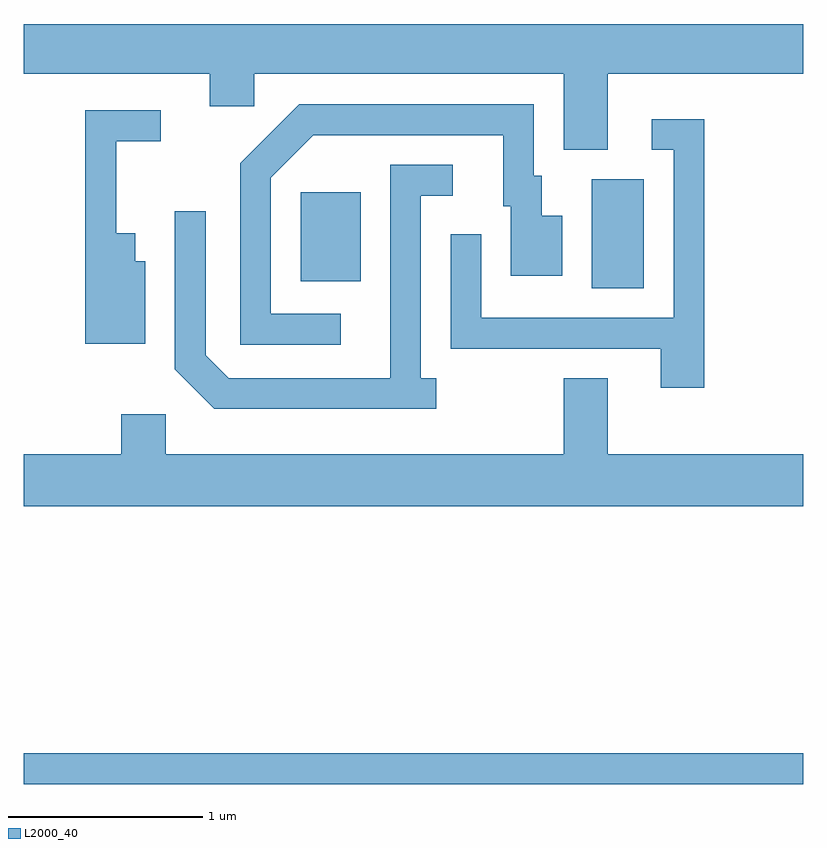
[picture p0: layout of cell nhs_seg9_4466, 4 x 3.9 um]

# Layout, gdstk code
import gdstk
lib = gdstk.Library(unit=1e-6, precision=1e-09)
def R(c, l, rs):  # rectangles x0, y0, x1, y1
    for r in rs: c.add(gdstk.rectangle(r[:2], r[2:], *l))
def P(c, l, *ps):  # polygons
    for p in ps: c.add(gdstk.Polygon(p, *l))
L2000_40 = (2000, 40)

nhs_seg9_4466 = lib.new_cell('nhs_seg9_4466')
R(nhs_seg9_4466, L2000_40, [(315.611,2072.531,319.611,2072.689), (318.526,2075.076,318.794,2075.634), (317.031,2075.111,317.339,2075.569)])
P(nhs_seg9_4466, L2000_40, [(318.609,2076.176),(319.611,2076.176),(319.611,2076.432),(315.611,2076.432),(315.611,2076.176),(316.566,2076.176),(316.566,2076.011),(316.794,2076.011),(316.794,2076.176),(318.381,2076.176),(318.381,2075.786),(318.609,2075.786)],
  [(317.238,2074.944),(316.879,2074.944),(316.879,2075.644),(317.097,2075.861),(318.071,2075.861),(318.071,2075.496),(318.111,2075.496),(318.111,2075.141),(318.374,2075.141),(318.374,2075.449),(318.269,2075.449),(318.269,2075.654),(318.229,2075.654),(318.229,2076.019),(317.024,2076.019),(316.721,2075.717),(316.721,2074.786),(317.238,2074.786)],
  [(316.234,2075.214),(316.184,2075.214),(316.184,2075.359),(316.084,2075.359),(316.084,2075.831),(316.313,2075.831),(316.313,2075.989),(315.926,2075.989),(315.926,2074.791),(316.234,2074.791)],
  [(319.104,2075.944),(318.833,2075.944),(318.833,2075.786),(318.946,2075.786),(318.946,2074.924),(317.959,2074.924),(317.959,2075.353),(317.801,2075.353),(317.801,2074.766),(318.881,2074.766),(318.881,2074.566),(319.104,2074.566)],
  [(317.728,2074.614),(317.649,2074.614),(317.649,2075.551),(317.813,2075.551),(317.813,2075.709),(317.491,2075.709),(317.491,2074.614),(316.662,2074.614),(316.544,2074.731),(316.544,2075.472),(316.386,2075.472),(316.386,2074.659),(316.589,2074.456),(317.728,2074.456)],
  [(319.611,2074.224),(318.609,2074.224),(318.609,2074.614),(318.381,2074.614),(318.381,2074.224),(316.339,2074.224),(316.339,2074.429),(316.111,2074.429),(316.111,2074.224),(315.611,2074.224),(315.611,2073.956),(319.611,2073.956)])

lib.write_gds('nhs_seg9_4466.gds')
